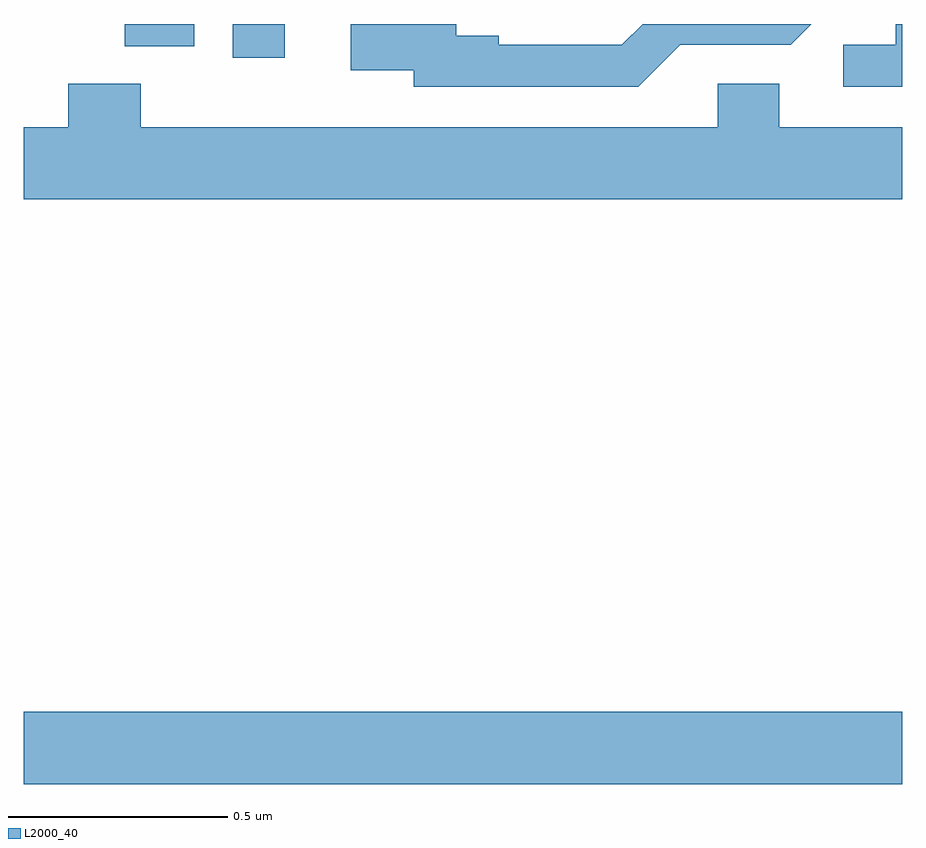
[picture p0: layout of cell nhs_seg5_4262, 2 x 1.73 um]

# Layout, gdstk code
import gdstk
lib = gdstk.Library(unit=1e-6, precision=1e-09)
def R(c, l, rs):  # rectangles x0, y0, x1, y1
    for r in rs: c.add(gdstk.rectangle(r[:2], r[2:], *l))
def P(c, l, *ps):  # polygons
    for p in ps: c.add(gdstk.Polygon(p, *l))
L2000_40 = (2000, 40)

nhs_seg5_4262 = lib.new_cell('nhs_seg5_4262')
R(nhs_seg5_4262, L2000_40, [(168,882.068,170,882.232), (168.476,883.722,168.594,883.799), (168.23,883.748,168.388,883.799)])
P(nhs_seg5_4262, L2000_40, [(170,883.799),(169.986,883.799),(169.986,883.752),(169.866,883.752),(169.866,883.656),(170,883.656)],
  [(169.495,883.752),(169.746,883.752),(169.793,883.799),(169.409,883.799),(169.362,883.752),(169.081,883.752),(169.081,883.772),(168.985,883.772),(168.985,883.799),(168.744,883.799),(168.744,883.694),(168.888,883.694),(168.888,883.656),(169.399,883.656)],
  [(170,883.564),(169.72,883.564),(169.72,883.663),(169.58,883.663),(169.58,883.564),(168.266,883.564),(168.266,883.663),(168.101,883.663),(168.101,883.564),(168,883.564),(168,883.4),(170,883.4)])

lib.write_gds('nhs_seg5_4262.gds')
